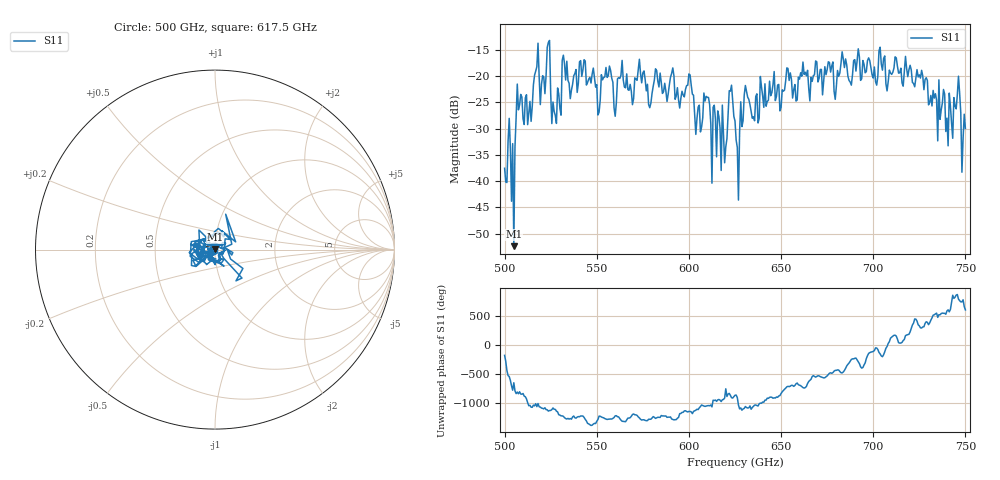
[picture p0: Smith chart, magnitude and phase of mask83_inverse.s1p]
!Created with skrf (http://scikit-rf.org).
# GHz S MA R 50.0
!freq magS11 angS11
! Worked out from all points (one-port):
!   401 points, 500 GHz to 750 GHz, reference 50 ohm
!   lowest |S11| = -52.4 dB at 505 GHz (marker M1), VSWR 1.00, Z = 50.1 + j0.226 ohm
!   |S11| at or under -10 dB: start of sweep to end of sweep
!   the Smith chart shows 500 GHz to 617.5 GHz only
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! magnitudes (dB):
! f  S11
! 500 GHz  -37.6
! 505 GHz  -52.4
! 508.1 GHz  -25.5
! 513.8 GHz  -24.8
! 516.9 GHz  -19.1
! 520.6 GHz  -19.9
! 523.8 GHz  -13.6
! 526.9 GHz  -26.7
! 531.2 GHz  -17.0
! 542.5 GHz  -18.8
! 550.6 GHz  -27.4
! 562.5 GHz  -20.4
! 593.8 GHz  -22.2
! 600 GHz  -19.6
! 605 GHz  -25.9
! 609.4 GHz  -23.9
! 618.8 GHz  -31.3
! 623.1 GHz  -21.7
! 625 GHz  -28.6
! 626.2 GHz  -33.6
! 631.2 GHz  -23.0
! 634.4 GHz  -28.0
! 656.2 GHz  -24.2
! 687.5 GHz  -21.1
! 718.8 GHz  -20.1
! 741.9 GHz  -25.7
! 745.6 GHz  -23.5
! 750 GHz  -30.0
